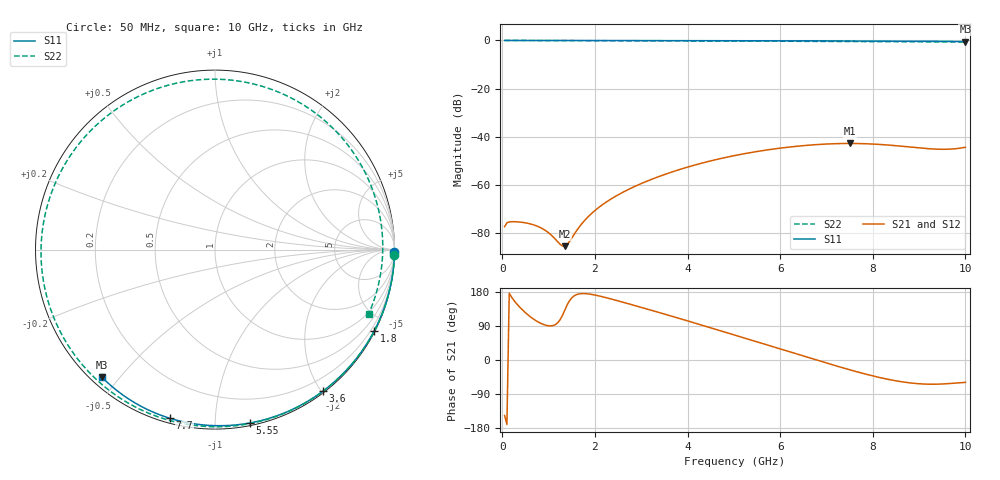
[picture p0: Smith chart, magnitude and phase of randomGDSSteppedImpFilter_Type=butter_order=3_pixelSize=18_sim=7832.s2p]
! freq	dB(S11)	phase(S11)	dB(S12)	phase(S12)
!  dB(S21)	phase(S21)	dB(S22)	phase(S22)
!S-par simulation data
#  GHz  S  DB  R 50
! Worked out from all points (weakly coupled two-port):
!   200 points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, 50 MHz to 10 GHz, reference 50 ohm
!   highest |S21| = -42.86 dB at 7.5 GHz (marker M1); lowest = -85.6 dB at 1.35 GHz (marker M2)
!   lowest |S11| = -0.4 dB at 10 GHz (marker M3), VSWR 39.00, Z = 1.54 - j22.6 ohm
!   |S11| at or under -10 dB: nowhere
!   |S22| runs from -0.7 to 0.0 dB; largest |S21 - S12| = 0
!   S11 on the Smith chart (normalised r, x): 50 MHz: open; 1.8 GHz: 0.04, -4.18; 3.6 GHz: 0.02, -2.02; 5.55 GHz: 0.02, -1.22; 7.7 GHz: 0.02, -0.77; 10 GHz: 0.03, -0.45
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0.05  -0.00 -0.8  -77.48 -146.4  -77.48 -146.4  -0.00 -1.8
0.15  -0.00 -2.3  -75.51 176.2  -75.51 176.2  -0.00 -5.3
0.35  -0.00 -5.3  -75.50 142.9  -75.50 142.9  -0.01 -12.5
0.7  -0.01 -10.6  -76.88 105.9  -76.88 105.9  -0.03 -24.8
1  -0.02 -15.1  -80.03 90.2  -80.03 90.2  -0.04 -35.3
1.35  -0.03 -20.3  -85.59 131.6  -85.59 131.6  -0.06 -47.3
1.55  -0.03 -23.3  -80.72 169.2  -80.72 169.2  -0.07 -54.2
1.75  -0.03 -26.2  -75.50 175.3  -75.50 175.3  -0.08 -60.9
1.8  -0.03 -26.9  -74.42 175.1  -74.42 175.1  -0.08 -62.6
2.45  -0.05 -36.4  -64.79 157.7  -64.79 157.7  -0.11 -84.2
3.4  -0.07 -49.9  -56.49 124.8  -56.49 124.8  -0.15 -115.0
3.6  -0.07 -52.7  -55.14 117.7  -55.14 117.7  -0.16 -121.4
4.35  -0.09 -62.9  -50.84 90.5  -50.84 90.5  -0.20 -145.7
5.05  -0.11 -72.2  -47.77 64.5  -47.77 64.5  -0.25 -169.1
5.55  -0.13 -78.7  -46.05 45.8  -46.05 45.8  -0.29 173.4
6.15  -0.15 -86.3  -44.46 23.4  -44.46 23.4  -0.34 151.0
6.7  -0.18 -93.0  -43.45 3.0  -43.45 3.0  -0.38 128.9
7.5  -0.23 -102.7  -42.86 -25.8  -42.86 -25.8  -0.44 93.8
7.7  -0.24 -105.0  -42.90 -32.5  -42.90 -32.5  -0.46 84.5
8.35  -0.29 -112.6  -43.54 -51.5  -43.54 -51.5  -0.50 53.5
9.15  -0.36 -121.8  -44.95 -63.7  -44.95 -63.7  -0.56 15.2
10  -0.45 -131.4  -44.44 -59.0  -44.44 -59.0  -0.65 -22.8
